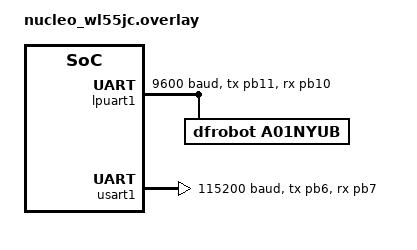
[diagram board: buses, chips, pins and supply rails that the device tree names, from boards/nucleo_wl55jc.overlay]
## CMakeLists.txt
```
# Copyright (c) 2023 SteadConnect
# SPDX-License-Identifier: Apache-2.0

cmake_minimum_required(VERSION 3.20.0)
find_package(Zephyr REQUIRED HINTS $ENV{ZEPHYR_BASE})
project(a01nyub)

FILE(GLOB app_sources src/*.c)
target_sources(app PRIVATE ${app_sources})
```

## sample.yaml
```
# Copyright (c) 2023 SteadConnect
# SPDX-License-Identifier: Apache-2.0

sample:
  name: A01NYUB distance sensor
tests:
  sample.sensor.a01nyub:
    build_only: true
    harness: sensor
    tags:
      - sensor
      - serial
      - uart
    depends_on: serial
    filter: dt_compat_enabled("dfrobot,a01nyub") and CONFIG_SERIAL and
            CONFIG_UART_INTERRUPT_DRIVEN
```

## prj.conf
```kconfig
# Copyright (c) 2023 SteadConnect
CONFIG_SERIAL=y
CONFIG_UART_INTERRUPT_DRIVEN=y
CONFIG_SENSOR=y
CONFIG_LOG=y
```

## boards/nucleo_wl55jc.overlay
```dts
/*
 * Copyright (c) 2023, SteadConnect
 *
 * SPDX-License-Identifier: Apache-2.0
 */

/ {
	chosen {
	zephyr,console = &usart1;
	zephyr,shell-uart = &usart1;
	};
};

&lpuart1 {
	pinctrl-0 = <&lpuart1_tx_pb11 &lpuart1_rx_pb10>;
	pinctrl-names = "default";
	status = "okay";
	current-speed = <9600>;
	a01nyub {
		compatible = "dfrobot,a01nyub";
		status = "okay";
	};
};

&usart1 {
	pinctrl-0 = <&usart1_tx_pb6 &usart1_rx_pb7>;
	pinctrl-names = "default";
	status = "okay";
	current-speed = <115200>;
};
```

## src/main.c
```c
/*
 * Copyright (c) 2023 SteadConnect
 * SPDX-License-Identifier: Apache-2.0
 */

#include <zephyr/kernel.h>
#include <zephyr/drivers/sensor.h>
#include <zephyr/logging/log.h>
#include <zephyr/device.h>

LOG_MODULE_REGISTER(main);

int main(void)
{
	LOG_INF("Booted DFRobot A01NYUB distance sensor sample");

	const struct device *dev;
	struct sensor_value val;

	dev = DEVICE_DT_GET_ONE(dfrobot_a01nyub);

	if (!device_is_ready(dev)) {
		LOG_ERR("sensor: device not found.");
		return 0;
	}

	while (1) {
		if (sensor_sample_fetch(dev) != 0) {
			LOG_ERR("sensor: sample fetch fail.");
		}

		if (sensor_channel_get(dev, SENSOR_CHAN_DISTANCE, &val) != 0) {
			LOG_ERR("sensor: channel get fail.");
		}

		LOG_INF("sensor: distance [m]: %d.%06d", val.val1, val.val2);

		k_sleep(K_SECONDS(2));
	}
	return 0;
}
```
